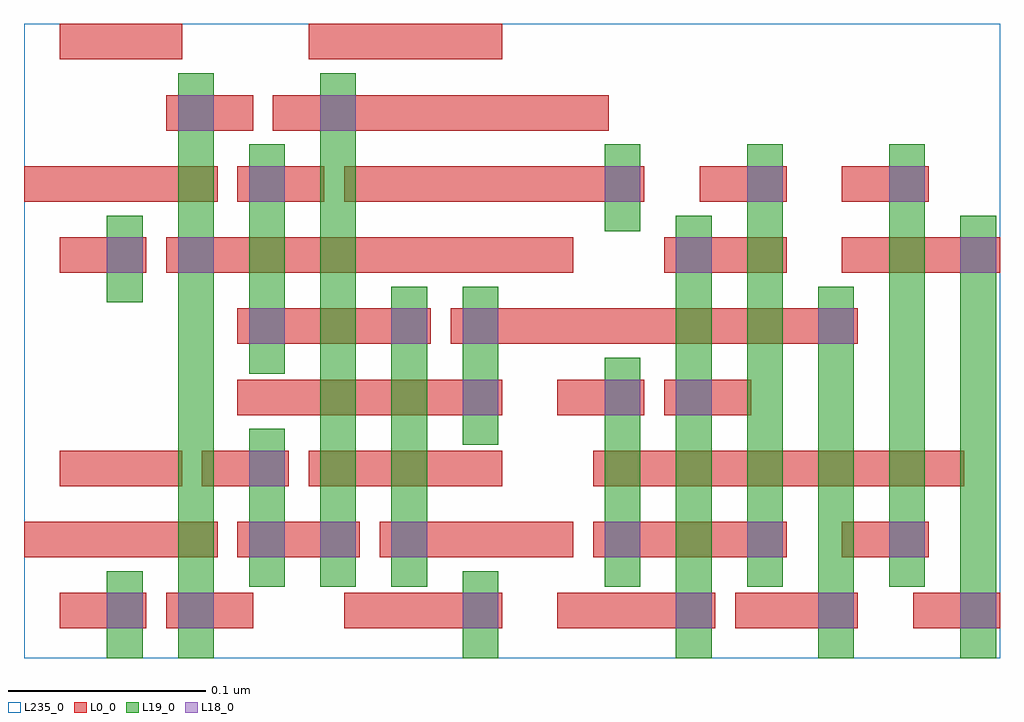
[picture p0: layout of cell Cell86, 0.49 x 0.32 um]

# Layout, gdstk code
import gdstk
lib = gdstk.Library(unit=1e-6, precision=2.5e-10)
def R(c, l, rs):  # rectangles x0, y0, x1, y1
    for r in rs: c.add(gdstk.rectangle(r[:2], r[2:], *l))
def A(c, l, x, y, w, h, nx, ny, dx, dy):  # array of equal rectangles
    R(c, l, [(x+i*dx, y+j*dy, x+i*dx+w, y+j*dy+h) for i in range(nx) for j in range(ny)])
L0_0 = (0, 0)
L18_0 = (18, 0)
L19_0 = (19, 0)
L235_0 = (235, 0)

cell86 = lib.new_cell('Cell86')
R(cell86, L0_0, [(0.022,-0.001,0.066,0.017), (0.076,-0.001,0.12,0.017), (0.166,-0.001,0.246,0.017), (0.274,-0.001,0.354,0.017), (0.364,-0.001,0.426,0.017), (0.454,-0.001,0.498,0.017), (0.004,0.035,0.102,0.053), (0.112,0.035,0.174,0.053), (0.184,0.035,0.282,0.053), (0.292,0.035,0.39,0.053), (0.418,0.035,0.462,0.053), (0.022,0.071,0.084,0.089), (0.094,0.071,0.138,0.089), (0.148,0.071,0.246,0.089), (0.292,0.071,0.48,0.089), (0.112,0.107,0.246,0.125), (0.274,0.107,0.318,0.125), (0.328,0.107,0.372,0.125), (0.112,0.143,0.21,0.161), (0.22,0.143,0.426,0.161), (0.022,0.179,0.066,0.197), (0.076,0.179,0.282,0.197), (0.328,0.179,0.39,0.197), (0.418,0.179,0.498,0.197), (0.004,0.215,0.102,0.233), (0.112,0.215,0.156,0.233), (0.166,0.215,0.318,0.233), (0.346,0.215,0.39,0.233), (0.418,0.215,0.462,0.233), (0.076,0.251,0.12,0.269), (0.13,0.251,0.3,0.269), (0.022,0.287,0.084,0.305), (0.148,0.287,0.246,0.305)])
A(cell86, L18_0, 0.334, -0.001, 0.018, 0.018, 3, 1, 0.072, 0)
A(cell86, L18_0, 0.118, 0.035, 0.018, 0.018, 3, 1, 0.036, 0)
A(cell86, L18_0, 0.298, 0.035, 0.018, 0.018, 3, 2, 0.072, 0.18)
A(cell86, L18_0, 0.118, 0.071, 0.018, 0.018, 1, 3, 0, 0.072)
R(cell86, L18_0, [(0.046,-0.001,0.064,0.017), (0.082,-0.001,0.1,0.017), (0.226,-0.001,0.244,0.017), (0.226,0.107,0.244,0.125), (0.298,0.107,0.316,0.125), (0.334,0.107,0.352,0.125), (0.19,0.143,0.208,0.161), (0.226,0.143,0.244,0.161), (0.406,0.143,0.424,0.161), (0.046,0.179,0.064,0.197), (0.082,0.179,0.1,0.197), (0.334,0.179,0.352,0.197), (0.478,0.179,0.496,0.197), (0.082,0.251,0.1,0.269), (0.154,0.251,0.172,0.269)])
R(cell86, L19_0, [(0.046,-0.016,0.064,0.028), (0.082,-0.016,0.1,0.28), (0.226,-0.016,0.244,0.028), (0.334,-0.016,0.352,0.208), (0.406,-0.016,0.424,0.172), (0.478,-0.016,0.496,0.208), (0.118,0.02,0.136,0.1), (0.154,0.02,0.172,0.28), (0.19,0.02,0.208,0.172), (0.298,0.02,0.316,0.136), (0.37,0.02,0.388,0.244), (0.442,0.02,0.46,0.244), (0.226,0.092,0.244,0.172), (0.118,0.128,0.136,0.244), (0.046,0.164,0.064,0.208), (0.298,0.2,0.316,0.244)])
R(cell86, L235_0, [(0.004,-0.016,0.498,0.305)])

lib.write_gds('Cell86.gds')
